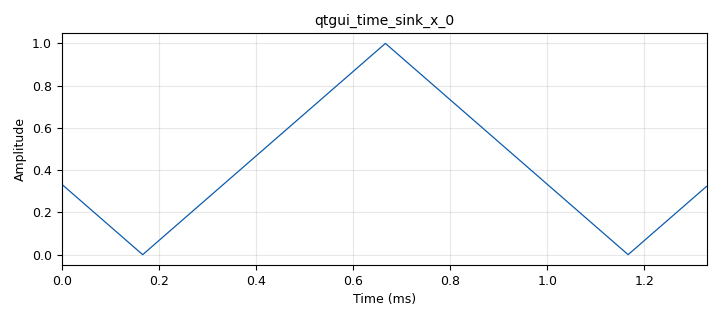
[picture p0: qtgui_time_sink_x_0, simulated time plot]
options:
  parameters:
    generate_options: qt_gui
    id: top_block
    output_language: python
  states: {}

blocks:
- name: SourceFreq
  id: variable_qtgui_range
  parameters:
    orient: Qt.Horizontal
    start: '0'
    step: '100'
    stop: '10000'
    value: '1000'
  states: {}
- name: samp_rate
  id: variable
  parameters:
    value: '192000'
  states: {}
- name: ad2_AD2_AnalogOut_Play_f_0
  id: ad2_AD2_AnalogOut_Play_f
  parameters:
    amplituide: '1'
    channel: '0'
    n_samples: int(samp_rate/2)
    rate: samp_rate
  states: {}
- name: analog_sig_source_x_0
  id: analog_sig_source_x
  parameters:
    amp: '1'
    freq: SourceFreq
    offset: '0'
    phase: '0'
    samp_rate: samp_rate
    type: float
    waveform: analog.GR_TRI_WAVE
  states: {}
- name: blocks_throttle_0
  id: blocks_throttle
  parameters:
    maxoutbuf: '2048'
    samples_per_second: samp_rate
    type: float
  states: {}
- name: qtgui_time_sink_x_0
  id: qtgui_time_sink_x
  parameters:
    autoscale: 'True'
    size: '256'
    srate: samp_rate
    type: float
  states: {}

connections:
- [analog_sig_source_x_0, '0', blocks_throttle_0, '0']
- [blocks_throttle_0, '0', ad2_AD2_AnalogOut_Play_f_0, '0']
- [blocks_throttle_0, '0', qtgui_time_sink_x_0, '0']

metadata:
  file_format: 1
